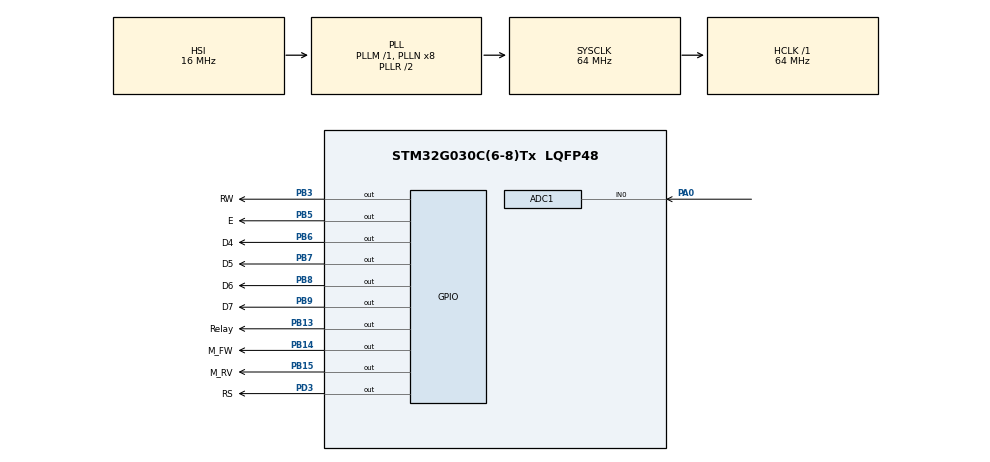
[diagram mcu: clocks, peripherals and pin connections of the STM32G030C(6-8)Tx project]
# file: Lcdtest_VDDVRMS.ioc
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ADC1.Channel-6\#ChannelRegularConversion=ADC_CHANNEL_0
ADC1.ClockPrescaler=ADC_CLOCK_ASYNC_DIV32
ADC1.ContinuousConvMode=ENABLE
ADC1.NbrOfConversionFlag=1
ADC1.Rank-6\#ChannelRegularConversion=1
ADC1.SamplingTime-6\#ChannelRegularConversion=ADC_SAMPLINGTIME_COMMON_1
ADC1.SamplingTimeCommon1=ADC_SAMPLETIME_160CYCLES_5
ADC1.SelectedChannel=ADC_CHANNEL_0
ADC1.master=1
Mcu.Family=STM32G0
Mcu.Name=STM32G030C(6-8)Tx
Mcu.Package=LQFP48
PA0.Mode=IN0
PA0.Signal=ADC1_IN0
PA13.Mode=Serial_Wire
PA13.Signal=SYS_SWDIO
PA14-BOOT0.Mode=Serial_Wire
PA14-BOOT0.Signal=SYS_SWCLK
PB13.GPIO_Label=Relay
PB13.GPIO_PuPd=GPIO_PULLDOWN
PB13.Signal=GPIO_Output
PB14.GPIO_Label=M_FW
PB14.GPIO_PuPd=GPIO_PULLDOWN
PB14.Signal=GPIO_Output
PB15.GPIO_Label=M_RV
PB15.GPIO_PuPd=GPIO_PULLDOWN
PB15.Signal=GPIO_Output
PB3.GPIO_Label=RW
PB3.Signal=GPIO_Output
PB5.GPIO_Label=E
PB5.Signal=GPIO_Output
PB6.GPIO_Label=D4
PB6.Signal=GPIO_Output
PB7.GPIO_Label=D5
PB7.Signal=GPIO_Output
PB8.GPIO_Label=D6
PB8.Signal=GPIO_Output
PB9.GPIO_Label=D7
PB9.Signal=GPIO_Output
PD3.GPIO_Label=RS
PD3.Signal=GPIO_Output
ProjectManager.HeapSize=0x200
ProjectManager.StackSize=0x400
ProjectManager.TargetToolchain=STM32CubeIDE
RCC.ADCFreq_Value=64000000
RCC.AHBFreq_Value=64000000
RCC.CortexFreq_Value=64000000
RCC.EXTERNAL_CLOCK_VALUE=12288000
RCC.HCLKFreq_Value=64000000
RCC.HSE_VALUE=8000000
RCC.HSI_VALUE=16000000
RCC.LSE_VALUE=32768
RCC.SYSCLKFreq_VALUE=64000000
RCC.SYSCLKSource=RCC_SYSCLKSOURCE_PLLCLK
RCC.VCOOutputFreq_Value=128000000
TIM1.Prescaler=64-1
VP_TIM1_VS_ClockSourceINT.Mode=Internal
board=custom

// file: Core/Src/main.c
/* USER CODE BEGIN Header */
/**
  ******************************************************************************
  * @file           : main.c
  * @brief          : Main program body
  ******************************************************************************
  * @attention
  *
  * Copyright (c) 2023 STMicroelectronics.
  * All rights reserved.
  *
  * This software is licensed under terms that can be found in the LICENSE file
  * in the root directory of this software component.
  * If no LICENSE file comes with this software, it is provided AS-IS.
  *
  ******************************************************************************
  */
/* USER CODE END Header */
#include "main.h"

/* USER CODE BEGIN Includes */
#include"lcd1.h"
#include "stdio.h"
#include "math.h"
#include "string.h"
/* USER CODE END Includes */

/* USER CODE BEGIN PD */
#define fact_val 3
#define fact_val_addr *((uint16_t*)0x1FFF75AA)
#define Reso 4095
#define no_of_samples 300
#define DMA_Time_Out 100
#define NumOfADCChan 3
#define EachChanSample 100
/* USER CODE END PD */

ADC_HandleTypeDef hadc1;

TIM_HandleTypeDef htim1;

/* USER CODE BEGIN PV */
char text[100];
uint16_t Id =0;
typedef enum
{
	Fun_Ok, //Represents FADC status that it is OK
	Fun_Error, //Represents FADC Error
	Fun_Timeout //Represents that FADC is timed out
}Fun_Status;
typedef enum
{
	ADC_DMA_Init,
	ADC_DMA_Started,
	ADC_DMA_Completed
}ADC_DMA_Status;

typedef struct{
	float Vraw1;
	float Vref;
	float K;
	float DCoffset;
	float Vrms1;
	float Vrms2;
	float Vrms3;
	ADC_DMA_Status StatusDMA;
	ADC_HandleTypeDef* HADC;
	uint16_t ADC_DMA_Sample[NumOfADCChan*EachChanSample];
}ADCPar;
ADCPar ADCVar;
/* USER CODE END PV */

void SystemClock_Config(void);
static void MX_GPIO_Init(void);
static void MX_TIM1_Init(void);
static void MX_ADC1_Init(void);

/* USER CODE BEGIN 0 */
void Vrefint_init(ADC_HandleTypeDef* HADC)
{

  /* USER CODE BEGIN ADC1_Init 0 */

  /* USER CODE END ADC1_Init 0 */

  ADC_ChannelConfTypeDef sConfig = {0};

  /* USER CODE BEGIN ADC1_Init 1 */

  /* USER CODE END ADC1_Init 1 */

  /** Configure the global features of the ADC (Clock, Resolution, Data Alignment and number of conversion)
  */
  HADC->Instance = ADC1;
  HADC->Init.ClockPrescaler = ADC_CLOCK_SYNC_PCLK_DIV2;
  HADC->Init.Resolution = ADC_RESOLUTION_12B;
  HADC->Init.DataAlign = ADC_DATAALIGN_RIGHT;
  HADC->Init.ScanConvMode = ADC_SCAN_DISABLE;
  HADC->Init.EOCSelection = ADC_EOC_SINGLE_CONV;
  HADC->Init.LowPowerAutoWait = DISABLE;
  HADC->Init.LowPowerAutoPowerOff = DISABLE;
  HADC->Init.ContinuousConvMode = DISABLE;
  HADC->Init.NbrOfConversion = 1;
  HADC->Init.DiscontinuousConvMode = DISABLE;
  HADC->Init.ExternalTrigConv = ADC_SOFTWARE_START;
  HADC->Init.ExternalTrigConvEdge = ADC_EXTERNALTRIGCONVEDGE_NONE;
  HADC->Init.DMAContinuousRequests = DISABLE;
  HADC->Init.Overrun = ADC_OVR_DATA_PRESERVED;
  HADC->Init.SamplingTimeCommon1 = ADC_SAMPLETIME_160CYCLES_5;
  HADC->Init.SamplingTimeCommon2 = ADC_SAMPLETIME_1CYCLE_5;
  HADC->Init.OversamplingMode = DISABLE;
  HADC->Init.TriggerFrequencyMode = ADC_TRIGGER_FREQ_HIGH;
  if (HAL_ADC_Init(&hadc1) != HAL_OK)
  {

  }

  /** Configure Regular Channel
  */
  sConfig.Channel = ADC_CHANNEL_VREFINT;
  sConfig.Rank = ADC_REGULAR_RANK_1;
  sConfig.SamplingTime = ADC_SAMPLINGTIME_COMMON_1;
  if (HAL_ADC_ConfigChannel(&hadc1, &sConfig) != HAL_OK)
  {

  }
  /* USER CODE BEGIN ADC1_Init 2 */

  /* USER CODE END ADC1_Init 2 */

}

Fun_Status GetVref(ADCPar * ADCValues)
{
	  Vrefint_init(ADCValues->HADC);
	  if(HAL_ADC_Start(ADCValues->HADC) != HAL_OK)
	  {
		return Fun_Error;
	  }
	  if(HAL_ADC_PollForConversion(ADCValues->HADC, HAL_MAX_DELAY) != HAL_OK)
	  {
		  return Fun_Error;
	  }
	  ADCValues->Vref = HAL_ADC_GetValue(ADCValues->HADC);
	  if(HAL_ADC_Stop(ADCValues->HADC) != HAL_OK)
	  {
		  return Fun_Error;
	  }
	  ADCValues->Vref =(fact_val * fact_val_addr)/ADCValues->Vref;
	  ADCValues->K=ADCValues->Vref/Reso;
	  //3 channel init
	  MX_ADC1_Init();
	  HAL_Delay(10);
	  HAL_ADCEx_Calibration_Start(&hadc1);
	  HAL_Delay(10);
	  return Fun_Ok;
}

Fun_Status FADC_Get_VRMS(ADCPar* FADC_p){

	uint32_t timeOut = HAL_GetTick();

	long double VRMSSq = 0;
	Id=0;
	HAL_ADC_Start(FADC_p->HADC);

	while((HAL_GetTick()-timeOut)<20)
	{

		HAL_ADC_PollForConversion(FADC_p->HADC, HAL_MAX_DELAY);

		FADC_p->Vrms1 = HAL_ADC_GetValue(FADC_p->HADC);
		FADC_p->ADC_DMA_Sample[Id] = FADC_p->Vrms1;
		FADC_p->Vrms1  =  (FADC_p->Vrms1)-2047.5;

		VRMSSq += ((FADC_p->Vrms1)*(FADC_p->Vrms1));

		++Id;
		uint16_t ii = 0;
		while(ii<500)
		{
			ii++;
		}
	}
	HAL_ADC_Stop(FADC_p->HADC);
	sprintf(text,"\nSample");
//	HAL_UART_Transmit(&huart2, (uint8_t*)text, strlen(text), HAL_MAX_DELAY);
//	for ( uint16_t var = 0;  var < Id; ++ var) {
//		sprintf(text,"%d,",FADC_p->ADC_DMA_Sample[Id]);
////		HAL_UART_Transmit(&huart2, (uint8_t*)text, strlen(text), HAL_MAX_DELAY);
//	}
	VRMSSq = VRMSSq/Id;
//	VRMSSq *= ((FADC_p->K)*(FADC_p->K));
	FADC_p->Vrms1 = sqrt(VRMSSq);
	FADC_p->Vraw1 = FADC_p->Vrms1;
	FADC_p->Vrms1 *= ((0.4201)*(FADC_p->Vref/3.3));//Vraw/ActualVrms

//		printf("Input voltage : Output voltage : current\n");
//		printf("%d : %d : %d",(int)VRMS_R_hold,(int)VRMS_Y_hold,(int)VRMS_B_hold);

	return Fun_Ok;
}
void HAL_ADC_ConvCpltCallback(ADC_HandleTypeDef* hadc)
{
  if(hadc->Instance == ADC1)
  {
	  ADCVar.StatusDMA = ADC_DMA_Completed;
    // This function will be called when ADC_DMA conversion is complete
    // You can process the ADC data here
  }
}

/* USER CODE END 0 */

int main(void)
{

  /* MCU Configuration--------------------------------------------------------*/

  /* Reset of all peripherals, Initializes the Flash interface and the Systick. */
  HAL_Init();

  /* USER CODE BEGIN Init */
uint8_t Sample = 0;
float SampleVolatge = 0;
  /* USER CODE END Init */

  /* Configure the system clock */
  SystemClock_Config();

  /* Initialize all configured peripherals */
  MX_GPIO_Init();
  MX_TIM1_Init();
  MX_ADC1_Init();
  /* USER CODE BEGIN 2 */
  LCD_Init();
  LCD_Clear();
  LCD_SetCursor(0, 0);
  LCD_Print("  LOL....");
  HAL_Delay(1000);
  HAL_ADCEx_Calibration_Start(&hadc1);
  HAL_Delay(10);
  ADCVar.HADC =&hadc1;
  GetVref(&ADCVar);
  double AVgVraw1 = 0;
  /* USER CODE END 2 */

  /* Infinite loop */
  while (1)
  {

    /* USER CODE BEGIN 3 */
//	  HAL_GPIO_WritePin(GPIOB, GPIO_PIN_9, GPIO_PIN_RESET);
//	  HAL_GPIO_WritePin(M_RV_GPIO_Port, M_RV_Pin, GPIO_PIN_RESET);
//	  HAL_GPIO_WritePin(M_FW_GPIO_Port, M_FW_Pin, GPIO_PIN_SET);
	  //HAL_GPIO_TogglePin(Relay_GPIO_Port, Relay_Pin);
	  SampleVolatge = 0;
	  AVgVraw1 = 0;
	  GetVref(&ADCVar);

	  for(Sample= 1;Sample <= 10;Sample++)
	  {
		 FADC_Get_VRMS(&ADCVar);
		 AVgVraw1 += ADCVar.Vraw1;
		 SampleVolatge += ADCVar.Vrms1;

	  }
	  ADCVar.Vrms1 = SampleVolatge/Sample;
	  ADCVar.Vraw1 = AVgVraw1/Sample;

	  LCD_Clear();
	  LCD_SetCursor(0, 0);
	  sprintf(text,"uoltage %d,%d",Sample,(uint16_t)(ADCVar.Vraw1*100));
	  LCD_Print(text);
	  LCD_SetCursor(1, 0);
	  sprintf(text,"%d,%d,%d",(uint16_t)(ADCVar.Vrms1),Id,(uint16_t)(ADCVar.Vref*10));
	  LCD_Print(text);
//	  HAL_Delay(5000);
//	  GetVref(&ADCVar);

//	  for(uint32_t id =0;id<=20000;id++)
//	  {
//
//	  }
//	  HAL_GPIO_WritePin(GPIOB, GPIO_PIN_9, GPIO_PIN_SET);
//	  HAL_GPIO_WritePin(M_RV_GPIO_Port, M_RV_Pin, GPIO_PIN_SET);
//	  HAL_GPIO_WritePin(M_FW_GPIO_Port, M_FW_Pin, GPIO_PIN_RESET);
//	  for(uint32_t id =0;id<=20000;id++)
//	  {
//
//	  }
//	  HAL_GPIO_TogglePin(Relay_GPIO_Port, Relay_Pin);
//	  LCD_Clear();
//	  LCD_SetCursor(0, 0);
//	  LCD_Print("L_!@#$%^^&*)_");
//	  LCD_SetCursor(1, 0);
//	  LCD_Print("_+&%#@&_");

  }
  /* USER CODE END 3 */
}

void SystemClock_Config(void)
{
  RCC_OscInitTypeDef RCC_OscInitStruct = {0};
  RCC_ClkInitTypeDef RCC_ClkInitStruct = {0};

  /** Configure the main internal regulator output voltage
  */
  HAL_PWREx_ControlVoltageScaling(PWR_REGULATOR_VOLTAGE_SCALE1);

  /** Initializes the RCC Oscillators according to the specified parameters
  * in the RCC_OscInitTypeDef structure.
  */
  RCC_OscInitStruct.OscillatorType = RCC_OSCILLATORTYPE_HSI;
  RCC_OscInitStruct.HSIState = RCC_HSI_ON;
  RCC_OscInitStruct.HSIDiv = RCC_HSI_DIV1;
  RCC_OscInitStruct.HSICalibrationValue = RCC_HSICALIBRATION_DEFAULT;
  RCC_OscInitStruct.PLL.PLLState = RCC_PLL_ON;
  RCC_OscInitStruct.PLL.PLLSource = RCC_PLLSOURCE_HSI;
  RCC_OscInitStruct.PLL.PLLM = RCC_PLLM_DIV1;
  RCC_OscInitStruct.PLL.PLLN = 8;
  RCC_OscInitStruct.PLL.PLLP = RCC_PLLP_DIV2;
  RCC_OscInitStruct.PLL.PLLR = RCC_PLLR_DIV2;
  if (HAL_RCC_OscConfig(&RCC_OscInitStruct) != HAL_OK)
  {
    Error_Handler();
  }

  /** Initializes the CPU, AHB and APB buses clocks
  */
  RCC_ClkInitStruct.ClockType = RCC_CLOCKTYPE_HCLK|RCC_CLOCKTYPE_SYSCLK
                              |RCC_CLOCKTYPE_PCLK1;
  RCC_ClkInitStruct.SYSCLKSource = RCC_SYSCLKSOURCE_PLLCLK;
  RCC_ClkInitStruct.AHBCLKDivider = RCC_SYSCLK_DIV1;
  RCC_ClkInitStruct.APB1CLKDivider = RCC_HCLK_DIV1;

  if (HAL_RCC_ClockConfig(&RCC_ClkInitStruct, FLASH_LATENCY_2) != HAL_OK)
  {
    Error_Handler();
  }
}

static void MX_ADC1_Init(void)
{

  ADC_ChannelConfTypeDef sConfig = {0};

  /** Configure the global features of the ADC (Clock, Resolution, Data Alignment and number of conversion)
  */
  hadc1.Instance = ADC1;
  hadc1.Init.ClockPrescaler = ADC_CLOCK_ASYNC_DIV32;
  hadc1.Init.Resolution = ADC_RESOLUTION_12B;
  hadc1.Init.DataAlign = ADC_DATAALIGN_RIGHT;
  hadc1.Init.ScanConvMode = ADC_SCAN_DISABLE;
  hadc1.Init.EOCSelection = ADC_EOC_SINGLE_CONV;
  hadc1.Init.LowPowerAutoWait = DISABLE;
  hadc1.Init.LowPowerAutoPowerOff = DISABLE;
  hadc1.Init.ContinuousConvMode = ENABLE;
  hadc1.Init.NbrOfConversion = 1;
  hadc1.Init.ExternalTrigConv = ADC_SOFTWARE_START;
  hadc1.Init.ExternalTrigConvEdge = ADC_EXTERNALTRIGCONVEDGE_NONE;
  hadc1.Init.DMAContinuousRequests = DISABLE;
  hadc1.Init.Overrun = ADC_OVR_DATA_PRESERVED;
  hadc1.Init.SamplingTimeCommon1 = ADC_SAMPLETIME_160CYCLES_5;
  hadc1.Init.SamplingTimeCommon2 = ADC_SAMPLETIME_1CYCLE_5;
  hadc1.Init.OversamplingMode = DISABLE;
  hadc1.Init.TriggerFrequencyMode = ADC_TRIGGER_FREQ_HIGH;
  if (HAL_ADC_Init(&hadc1) != HAL_OK)
  {
    Error_Handler();
  }

  /** Configure Regular Channel
  */
  sConfig.Channel = ADC_CHANNEL_0;
  sConfig.Rank = ADC_REGULAR_RANK_1;
  sConfig.SamplingTime = ADC_SAMPLINGTIME_COMMON_1;
  if (HAL_ADC_ConfigChannel(&hadc1, &sConfig) != HAL_OK)
  {
    Error_Handler();
  }

}

static void MX_TIM1_Init(void)
{

  TIM_ClockConfigTypeDef sClockSourceConfig = {0};
  TIM_MasterConfigTypeDef sMasterConfig = {0};

  htim1.Instance = TIM1;
  htim1.Init.Prescaler = 64-1;
  htim1.Init.CounterMode = TIM_COUNTERMODE_UP;
  htim1.Init.Period = 65535;
  htim1.Init.ClockDivision = TIM_CLOCKDIVISION_DIV1;
  htim1.Init.RepetitionCounter = 0;
  htim1.Init.AutoReloadPreload = TIM_AUTORELOAD_PRELOAD_DISABLE;
  if (HAL_TIM_Base_Init(&htim1) != HAL_OK)
  {
    Error_Handler();
  }
  sClockSourceConfig.ClockSource = TIM_CLOCKSOURCE_INTERNAL;
  if (HAL_TIM_ConfigClockSource(&htim1, &sClockSourceConfig) != HAL_OK)
  {
    Error_Handler();
  }
  sMasterConfig.MasterOutputTrigger = TIM_TRGO_RESET;
  sMasterConfig.MasterOutputTrigger2 = TIM_TRGO2_RESET;
  sMasterConfig.MasterSlaveMode = TIM_MASTERSLAVEMODE_DISABLE;
  if (HAL_TIMEx_MasterConfigSynchronization(&htim1, &sMasterConfig) != HAL_OK)
  {
    Error_Handler();
  }

}

static void MX_GPIO_Init(void)
{
  GPIO_InitTypeDef GPIO_InitStruct = {0};

  /* GPIO Ports Clock Enable */
  __HAL_RCC_GPIOA_CLK_ENABLE();
  __HAL_RCC_GPIOB_CLK_ENABLE();
  __HAL_RCC_GPIOD_CLK_ENABLE();

  /*Configure GPIO pin Output Level */
  HAL_GPIO_WritePin(GPIOB, Relay_Pin|M_FW_Pin|M_RV_Pin|RW_Pin
                          |E_Pin|D4_Pin|D5_Pin|D6_Pin
                          |D7_Pin, GPIO_PIN_RESET);

  /*Configure GPIO pin Output Level */
  HAL_GPIO_WritePin(RS_GPIO_Port, RS_Pin, GPIO_PIN_RESET);

  /*Configure GPIO pins : Relay_Pin M_FW_Pin M_RV_Pin */
  GPIO_InitStruct.Pin = Relay_Pin|M_FW_Pin|M_RV_Pin;
  GPIO_InitStruct.Mode = GPIO_MODE_OUTPUT_PP;
  GPIO_InitStruct.Pull = GPIO_PULLDOWN;
  GPIO_InitStruct.Speed = GPIO_SPEED_FREQ_LOW;
  HAL_GPIO_Init(GPIOB, &GPIO_InitStruct);

  /*Configure GPIO pin : RS_Pin */
  GPIO_InitStruct.Pin = RS_Pin;
  GPIO_InitStruct.Mode = GPIO_MODE_OUTPUT_PP;
  GPIO_InitStruct.Pull = GPIO_NOPULL;
  GPIO_InitStruct.Speed = GPIO_SPEED_FREQ_LOW;
  HAL_GPIO_Init(RS_GPIO_Port, &GPIO_InitStruct);

  /*Configure GPIO pins : RW_Pin E_Pin D4_Pin D5_Pin
                           D6_Pin D7_Pin */
  GPIO_InitStruct.Pin = RW_Pin|E_Pin|D4_Pin|D5_Pin
                          |D6_Pin|D7_Pin;
  GPIO_InitStruct.Mode = GPIO_MODE_OUTPUT_PP;
  GPIO_InitStruct.Pull = GPIO_NOPULL;
  GPIO_InitStruct.Speed = GPIO_SPEED_FREQ_LOW;
  HAL_GPIO_Init(GPIOB, &GPIO_InitStruct);

}

void Error_Handler(void)
{
  __disable_irq();
  while (1)
  {
  }
}
